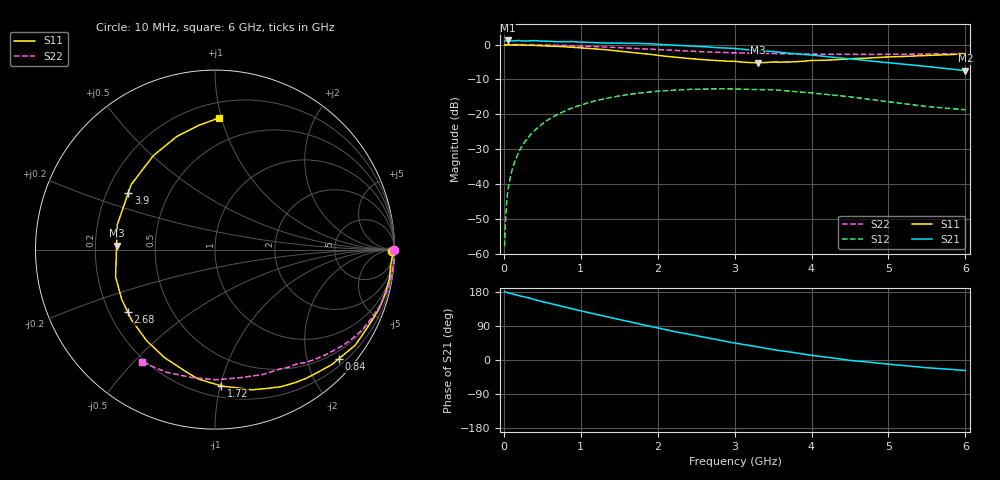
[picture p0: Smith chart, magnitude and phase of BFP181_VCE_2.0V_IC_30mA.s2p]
! Infineon Technologies  Discrete & RF Semiconductors
! BFP181
! VCE = 2.0 V,  IC =  30 mA
! Common Emitter S-Parameters:  Jan 2016
# GHz  S  MA  R  50
!  f  S11  S21  S12  S22
! GHz  MAG  ANG  MAG  ANG  MAG  ANG  MAG  ANG
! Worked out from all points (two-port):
!   210 points, 10 MHz to 6 GHz, reference 50 ohm
!   highest |S21| = 1.16 dB at 50 MHz (marker M1); lowest = -7.5 dB at 6 GHz (marker M2)
!   |S21| within 3 dB of the highest: start of sweep to 3.363 GHz
!   lowest |S11| = -5.2 dB at 3.3 GHz (marker M3), VSWR 3.43, Z = 14.6 + j0.919 ohm
!   |S11| at or under -10 dB: nowhere
!   |S22| runs from -2.8 to 0.0 dB; largest |S21 - S12| = 1.1
!   S11 on the Smith chart (normalised r, x): 10 MHz: open; 840 MHz: 0.33, -2.61; 1.72 GHz: 0.28, -1.01; 2.68 GHz: 0.28, -0.30; 3.9 GHz: 0.29, +0.28; 6 GHz: 0.31, +0.98
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0.01  0.9879 -0.5  1.119 180.0  0.0013 96.3  0.9996 -0.2
0.025  0.9861 -1.1  1.13 179.3  0.0035 93.3  0.9992 -0.6
0.035  0.987 -1.6  1.135 178.6  0.0052 91.4  0.9991 -0.8
0.05  0.9884 -2.3  1.143 177.5  0.0078 90.2  0.999 -1.2
0.085  0.9836 -4.1  1.129 175.6  0.0128 87.3  0.9988 -2.0
0.145  0.9835 -7.1  1.133 172.7  0.0216 84.3  0.9986 -3.5
0.3  0.978 -14.8  1.125 165.2  0.0446 79.0  0.9946 -7.4
0.54  0.9546 -26.5  1.115 152.1  0.0785 70.1  0.9847 -13.2
0.84  0.9196 -41.4  1.102 137.5  0.1175 59.2  0.9649 -20.3
1.02  0.8906 -50.3  1.079 128.8  0.1383 53.1  0.9494 -24.4
1.3  0.8474 -64.4  1.054 116.1  0.1667 43.4  0.9243 -30.6
1.72  0.7588 -87.4  1.038 97.1  0.1986 30.6  0.8762 -38.9
2.02  0.6967 -104.0  1.003 83.7  0.2156 22.2  0.8461 -44.3
2.4  0.6348 -126.9  0.956 68.0  0.228 11.4  0.8072 -51.2
2.68  0.5973 -144.5  0.916 57.2  0.2309 4.7  0.7797 -55.6
3.1  0.56 -170.4  0.856 41.5  0.2293 -5.7  0.7544 -62.7
3.3  0.5489 177.7  0.818 34.7  0.2266 -10.0  0.7484 -66.0
3.9  0.5777 146.7  0.72 15.5  0.207 -21.5  0.7291 -76.9
4.1  0.5928 138.3  0.688 9.8  0.1979 -24.8  0.7249 -81.0
4.5  0.6265 123.2  0.624 -1.0  0.1784 -30.6  0.7252 -89.5
5.1  0.6698 106.3  0.535 -12.8  0.1466 -33.8  0.7244 -102.7
6  0.7341 88.3  0.422 -27.8  0.1164 -27.3  0.7473 -123.0
